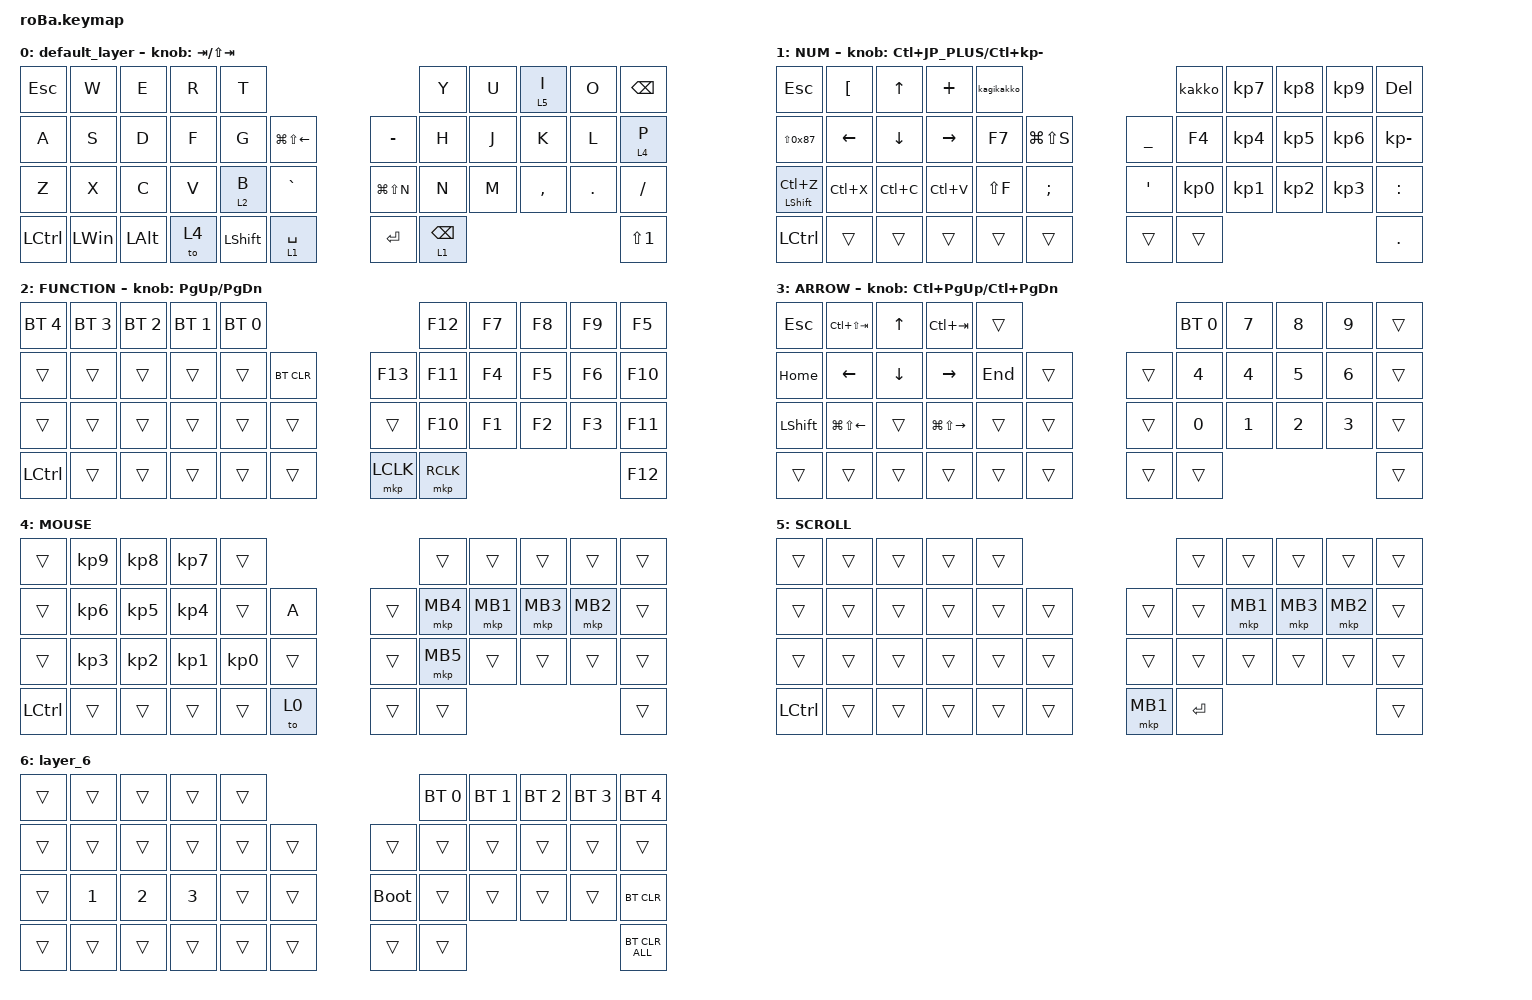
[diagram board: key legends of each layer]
#include <input/processors.dtsi>
#include <zephyr/dt-bindings/input/input-event-codes.h>
#include <behaviors.dtsi>
#include <dt-bindings/zmk/bt.h>
#include <dt-bindings/zmk/keys.h>
#include <dt-bindings/zmk/pointing.h>

#define JP_UNDERSCORE   LS(0x87)          // _
#define JP_COLON        SINGLE_QUOTE      // :
#define JP_LBRACKET     RIGHT_BRACKET     // [
#define JP_RBRACKET     BACKSLASH         // ]
#define JP_LPAREN       ASTERISK          // (
#define JP_RPAREN       LEFT_PARENTHESIS  // )
#define JP_HANZEN       GRAVE             // 半角/全角
#define JP_PLUS         COLON             // +
#define JP_TILDE        PLUS              // ~
#define JP_AT           LEFT_BRACKET      // @
#define JP_YEN          0x89              // ¥
#define JP_EQUAL        UNDER             // =

/ {
    /omit-if-no-ref/

    zip_temp_layer: zip_temp_layer {
        compatible = "zmk,input-processor-temp-layer";
        #input-processor-cells = <2>;
        require-prior-idle-ms = <2000>;
        excluded-positions = <1 2 3>;
    };
};

&mt {
    flavor = "balanced";
    quick-tap-ms = <0>;
};

&trackball {
    // automouse-layer = <4>;

    scroll-layers = <5>;

    // arrows {
    //     layers = <3>;
    //     bindings =
    //         <&kp RIGHT_ARROW>,
    //         <&kp LEFT_ARROW>,
    //         <&kp UP_ARROW>,
    //         <&kp DOWN_ARROW>;
    //     tick = <10>;
    //     wait-ms = <5>;
    //     tap-ms = <5>;
    // };
};

/ {
    combos {
        compatible = "zmk,combos";

        tab {
            bindings = <&kp Q>;
            key-positions = <0 1>;
        };

        shift_tab {
            bindings = <&kp TAB>;
            key-positions = <12 13>;
        };

        double_quotation {
            bindings = <&kp MINUS>;
            key-positions = <20 21>;
        };

        eq {
            bindings = <&kp EQUAL>;
            key-positions = <24 25>;
        };

        to4 {
            bindings = <&to 4>;
            key-positions = <30 31>;
        };

        to0 {
            bindings = <&to 0>;
            key-positions = <32 33>;
        };

        mouse1 {
            bindings = <&mkp MB1>;
            key-positions = <18 19>;
        };

        mouse2 {
            bindings = <&mkp MB2>;
            key-positions = <20 19>;
        };
    };

    macros {
        kakko: kakko {
            compatible = "zmk,behavior-macro";
            #binding-cells = <0>;
            bindings = <&kp ASTRK &kp LEFT_PARENTHESIS &kp F10 &kp ENTER &kp LEFT_ARROW>;
            label = "KAKKO";
        };

        kagikakko: kagikakko {
            compatible = "zmk,behavior-macro";
            #binding-cells = <0>;
            bindings = <&kp RIGHT_BRACKET &kp BACKSLASH &kp ENTER &kp LEFT_ARROW>;
            label = "KAGIKAKKO";
        };

        new_macro: new_macro {
            compatible = "zmk,behavior-macro";
            #binding-cells = <0>;
            bindings = <&kp LEFT_ALT>;
            label = "NEW_MACRO";
        };
    };

    behaviors {
        scroll_up_down: mouse_up_down {
            compatible = "zmk,behavior-sensor-rotate";
            #sensor-binding-cells = <0>;
            bindings = <&msc SCRL_UP>, <&msc SCRL_DOWN>;

            tap-ms = <20>;
        };

        scroll_left_right: mouse_wheel_left_right {
            compatible = "zmk,behavior-sensor-rotate";
            #sensor-binding-cells = <0>;
            bindings = <&msc SCRL_LEFT>, <&msc SCRL_RIGHT>;

            tap-ms = <20>;
        };

        lt_to_layer_0: lt_to_layer_0 {
            compatible = "zmk,behavior-hold-tap";
            label = "LT_TO_LAYER_0";
            bindings = <&mo>, <&none>;

            #binding-cells = <2>;
            tapping-term-ms = <200>;
        };
    };

    keymap {
        compatible = "zmk,keymap";

        default_layer {
            bindings = <
&kp ESC    &kp W         &kp E         &kp R  &kp T                                                      &kp Y            &kp U  &lt 5 I    &kp O    &kp BACKSPACE
&kp A      &kp S         &kp D         &kp F  &kp G           &kp LG(LS(LEFT_ARROW))      &kp MINUS      &kp H            &kp J  &kp K      &kp L    &lt 4 P
&kp Z      &kp X         &kp C         &kp V  &lt 2 B         &kp JP_HANZEN               &kp LG(LS(N))  &kp N            &kp M  &kp COMMA  &kp DOT  &kp SLASH
&kp LCTRL  &kp LEFT_WIN  &kp LEFT_ALT  &to 4  &kp LEFT_SHIFT  &lt 1 SPACE                 &kp ENTER      &lt 1 BACKSPACE                             &kp LS(NUMBER_1)
            >;

            sensor-bindings = <&inc_dec_kp TAB LS(TAB)>;
        };

        NUM {
            bindings = <
&kp ESCAPE            &kp JP_AT       &kp UP          &kp JP_TILDE     &kagikakko                                   &kakko           &kp KP_NUMBER_7  &kp KP_NUMBER_8  &kp KP_NUMBER_9  &kp DEL
&kp JP_UNDERSCORE     &kp LEFT_ARROW  &kp DOWN_ARROW  &kp RIGHT_ARROW  &kp F7      &kp LG(LS(S))      &kp JP_EQUAL  &kp F4           &kp KP_NUMBER_4  &kp KP_NUMBER_5  &kp KP_NUMBER_6  &kp KP_MINUS
&mt LEFT_SHIFT LC(Z)  &kp LC(X)       &kp LC(C)       &kp LC(V)        &kp LS(F)   &kp SEMICOLON      &kp JP_COLON  &kp KP_NUMBER_0  &kp KP_NUMBER_1  &kp KP_NUMBER_2  &kp KP_NUMBER_3  &kp JP_PLUS
&kp LEFT_CONTROL      &trans          &trans          &trans           &trans      &trans             &trans        &trans                                                              &kp PERIOD
            >;

            sensor-bindings = <&inc_dec_kp LC(JP_PLUS) LC(KP_MINUS)>;
        };

        FUNCTION {
            bindings = <
&bt BT_SEL 4      &bt BT_SEL 3  &bt BT_SEL 2  &bt BT_SEL 1  &bt BT_SEL 0                             &kp F12    &kp F7  &kp F8  &kp F9  &kp F5
&trans            &trans        &trans        &trans        &trans        &bt BT_CLR      &kp F13    &kp F11    &kp F4  &kp F5  &kp F6  &kp F10
&trans            &trans        &trans        &trans        &trans        &trans          &trans     &kp F10    &kp F1  &kp F2  &kp F3  &kp F11
&kp LEFT_CONTROL  &trans        &trans        &trans        &trans        &trans          &mkp LCLK  &mkp RCLK                          &kp F12
            >;

            sensor-bindings = <&inc_dec_kp PAGE_UP PAGE_DOWN>;
        };

        ARROW {
            bindings = <
&kp ESCAPE      &kp LC(LS(TAB))         &kp UP_ARROW    &kp LC(TAB)              &trans                       &bt BT_SEL 0  &kp N7        &kp N8        &kp N9        &trans
&kp HOME        &kp LEFT_ARROW          &kp DOWN_ARROW  &kp RIGHT_ARROW          &kp END  &trans      &trans  &kp NUMBER_4  &kp NUMBER_4  &kp N5        &kp NUMBER_6  &trans
&kp LEFT_SHIFT  &kp LG(LS(LEFT_ARROW))  &trans          &kp LG(LS(RIGHT_ARROW))  &trans   &trans      &trans  &kp N0        &kp NUMBER_1  &kp NUMBER_2  &kp NUMBER_3  &trans
&trans          &trans                  &trans          &trans                   &trans   &trans      &trans  &trans                                                  &trans
            >;

            sensor-bindings = <&inc_dec_kp LC(PAGE_UP) LC(PAGE_DOWN)>;
        };

        MOUSE {
            bindings = <
&trans     &kp KP_NUMBER_9  &kp KP_NUMBER_8  &kp KP_NUMBER_7  &trans                               &trans    &trans    &trans    &trans    &trans
&trans     &kp KP_NUMBER_6  &kp KP_NUMBER_5  &kp KP_NUMBER_4  &trans           &kp A       &trans  &mkp MB4  &mkp MB1  &mkp MB3  &mkp MB2  &trans
&trans     &kp KP_NUMBER_3  &kp KP_NUMBER_2  &kp KP_NUMBER_1  &kp KP_NUMBER_0  &trans      &trans  &mkp MB5  &trans    &trans    &trans    &trans
&kp LCTRL  &trans           &trans           &trans           &trans           &to 0       &trans  &trans                                  &trans
            >;
        };

        SCROLL {
            bindings = <
&trans     &trans  &trans  &trans  &trans                        &trans     &trans    &trans    &trans    &trans
&trans     &trans  &trans  &trans  &trans  &trans      &trans    &trans     &mkp MB1  &mkp MB3  &mkp MB2  &trans
&trans     &trans  &trans  &trans  &trans  &trans      &trans    &trans     &trans    &trans    &trans    &trans
&kp LCTRL  &trans  &trans  &trans  &trans  &trans      &mkp MB1  &kp ENTER                                &trans
            >;
        };

        layer_6 {
            bindings = <
&trans  &trans        &trans        &trans        &trans                           &bt BT_SEL 0  &bt BT_SEL 1  &bt BT_SEL 2  &bt BT_SEL 3  &bt BT_SEL 4
&trans  &trans        &trans        &trans        &trans  &trans      &trans       &trans        &trans        &trans        &trans        &trans
&trans  &kp NUMBER_1  &kp NUMBER_2  &kp NUMBER_3  &trans  &trans      &bootloader  &trans        &trans        &trans        &trans        &bt BT_CLR
&trans  &trans        &trans        &trans        &trans  &trans      &trans       &trans                                                  &bt BT_CLR_ALL
            >;
        };
    };
};
